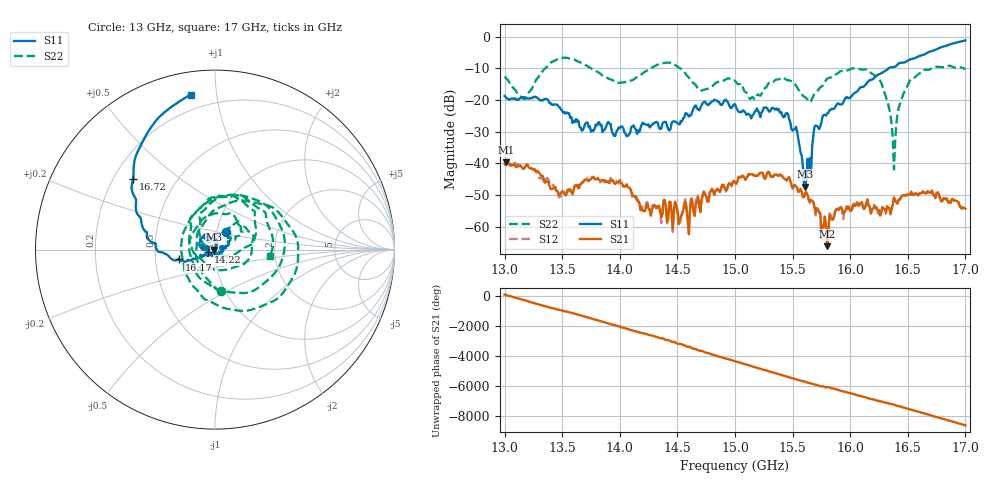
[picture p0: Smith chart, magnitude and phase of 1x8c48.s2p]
!Keysight Technologies,P9374A,MY57211807,A.19.30.04
!Date: Friday, May 08, 2026 15:11:44
!Correction: S11(C  2-Port  )
!S21(C  2-Port  )
!S12(C  2-Port  )
!S22(C  2-Port  )
!S2P File: Measurements: S11, S21, S12, S22:
# Hz S  dB  R 50
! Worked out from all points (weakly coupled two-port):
!   401 points, 13 GHz to 17 GHz, reference 50 ohm
!   highest |S21| = -39.64 dB at 13.01 GHz (marker M1); lowest = -66.2 dB at 15.8 GHz (marker M2)
!   lowest |S11| = -47.3 dB at 15.61 GHz (marker M3), VSWR 1.01, Z = 49.6 - j0.073 ohm
!   |S11| at or under -10 dB: start of sweep to 16.33 GHz
!   |S22| runs from -41.9 to -6.6 dB; largest |S21 - S12| = 0.0013
!   S11 on the Smith chart (normalised r, x): 13 GHz: 1.11, +0.22; 14.22 GHz: 0.92, -0.02; 16.17 GHz: 0.66, -0.08; 16.72 GHz: 0.28, +0.35; 17 GHz: 0.12, +0.85
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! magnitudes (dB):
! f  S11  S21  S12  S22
! 13 GHz  -18.7  -40.2  -40.8  -12.6
! 13.01 GHz  -19.1  -39.6  -40.1  -13.0
! 13.17 GHz  -19.0  -41.7  -41.6  -19.7
! 13.41 GHz  -21.5  -48.1  -47.2  -7.9
! 13.67 GHz  -29.7  -46.1  -46.0  -8.3
! 14 GHz  -28.8  -45.3  -45.4  -14.6
! 14.22 GHz  -27.6  -55.1  -54.3  -11.0
! 14.34 GHz  -28.8  -53.3  -53.5  -8.6
! 14.7 GHz  -22.4  -55.4  -54.8  -17.1
! 15 GHz  -21.3  -46.0  -45.9  -13.9
! 15.15 GHz  -24.9  -43.4  -43.7  -19.0
! 15.46 GHz  -24.5  -44.7  -44.7  -13.8
! 15.61 GHz  -47.3  -49.4  -49.3  -19.1
! 15.67 GHz  -34.6  -51.8  -51.9  -19.5
! 15.8 GHz  -24.2  -66.2  -64.2  -13.3
! 15.9 GHz  -21.1  -54.8  -55.1  -11.3
! 16.17 GHz  -13.7  -53.6  -53.9  -11.1
! 16.34 GHz  -9.8  -54.2  -54.0  -22.9
! 16.38 GHz  -9.6  -50.9  -50.8  -41.9
! 16.51 GHz  -7.3  -49.9  -49.7  -14.4
! 16.72 GHz  -4.4  -49.9  -49.9  -9.8
! 17 GHz  -1.2  -54.3  -54.5  -10.3
